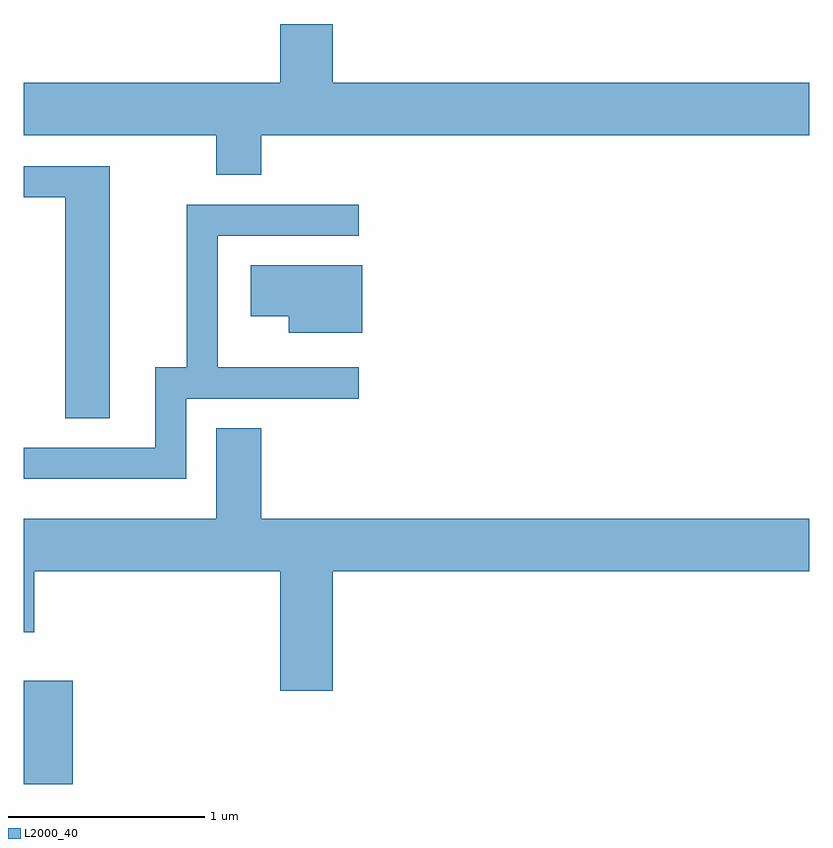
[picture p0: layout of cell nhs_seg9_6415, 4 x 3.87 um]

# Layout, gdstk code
import gdstk
lib = gdstk.Library(unit=1e-6, precision=1e-09)
def R(c, l, rs):  # rectangles x0, y0, x1, y1
    for r in rs: c.add(gdstk.rectangle(r[:2], r[2:], *l))
def P(c, l, *ps):  # polygons
    for p in ps: c.add(gdstk.Polygon(p, *l))
L2000_40 = (2000, 40)

nhs_seg9_6415 = lib.new_cell('nhs_seg9_6415')
R(nhs_seg9_6415, L2000_40, [(373.611,2068.432,373.859,2068.959)])
P(nhs_seg9_6415, L2000_40, [(374.819,2071.736),(377.611,2071.736),(377.611,2072.004),(375.184,2072.004),(375.184,2072.304),(374.916,2072.304),(374.916,2072.004),(373.611,2072.004),(373.611,2071.736),(374.591,2071.736),(374.591,2071.536),(374.819,2071.536)],
  [(374.049,2071.579),(373.611,2071.579),(373.611,2071.421),(373.821,2071.421),(373.821,2070.296),(374.049,2070.296)],
  [(374.439,2070.396),(375.318,2070.396),(375.318,2070.554),(374.599,2070.554),(374.599,2071.226),(375.318,2071.226),(375.318,2071.384),(374.441,2071.384),(374.441,2070.554),(374.281,2070.554),(374.281,2070.144),(373.611,2070.144),(373.611,2069.986),(374.439,2069.986)],
  [(375.334,2071.074),(374.766,2071.074),(374.766,2070.816),(374.961,2070.816),(374.961,2070.731),(375.334,2070.731)],
  [(375.184,2069.516),(377.611,2069.516),(377.611,2069.784),(374.819,2069.784),(374.819,2070.244),(374.591,2070.244),(374.591,2069.784),(373.611,2069.784),(373.611,2069.206),(373.664,2069.206),(373.664,2069.516),(374.916,2069.516),(374.916,2068.906),(375.184,2068.906)])

lib.write_gds('nhs_seg9_6415.gds')
